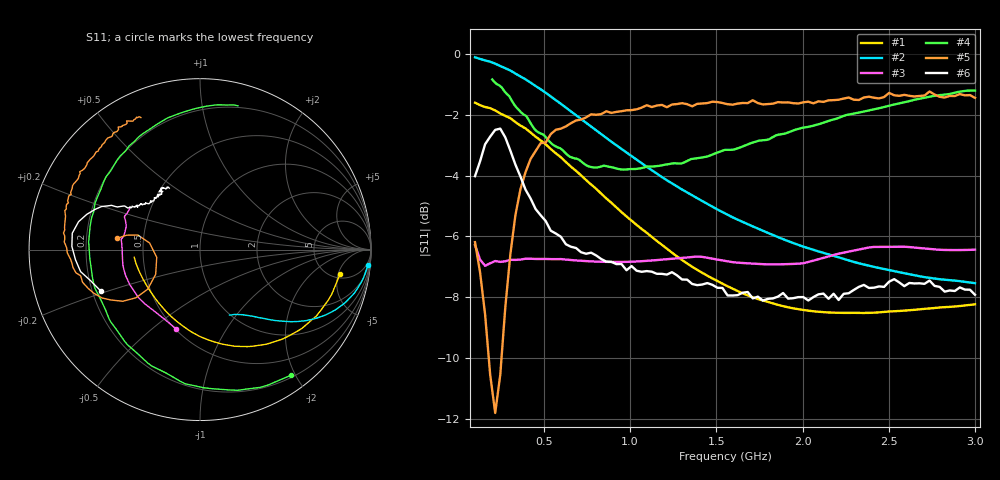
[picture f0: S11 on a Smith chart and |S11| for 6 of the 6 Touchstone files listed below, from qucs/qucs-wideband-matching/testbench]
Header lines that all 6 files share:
#Hz S ri R 50
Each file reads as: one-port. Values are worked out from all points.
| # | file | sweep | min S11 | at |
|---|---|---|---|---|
| 1 | BFG310-input.s1p | 100 MHz to 3 GHz | -8.5 dB | 2.356 GHz |
| 2 | BFG310-output.s1p | 100 MHz to 3 GHz | -7.5 dB | 3 GHz |
| 3 | BFR520-input.s1p | 100 MHz to 3 GHz | -7.0 dB | 158.6 MHz |
| 4 | cly5.s1p | 200 MHz to 3 GHz | -3.8 dB | 959.8 MHz |
| 5 | TQP7M9101-input.s1p | 100 MHz to 3 GHz | -11.8 dB | 217.2 MHz |
| 6 | TQP7M9101-output.s1p | 100 MHz to 3 GHz | -8.1 dB | 1.77 GHz |
